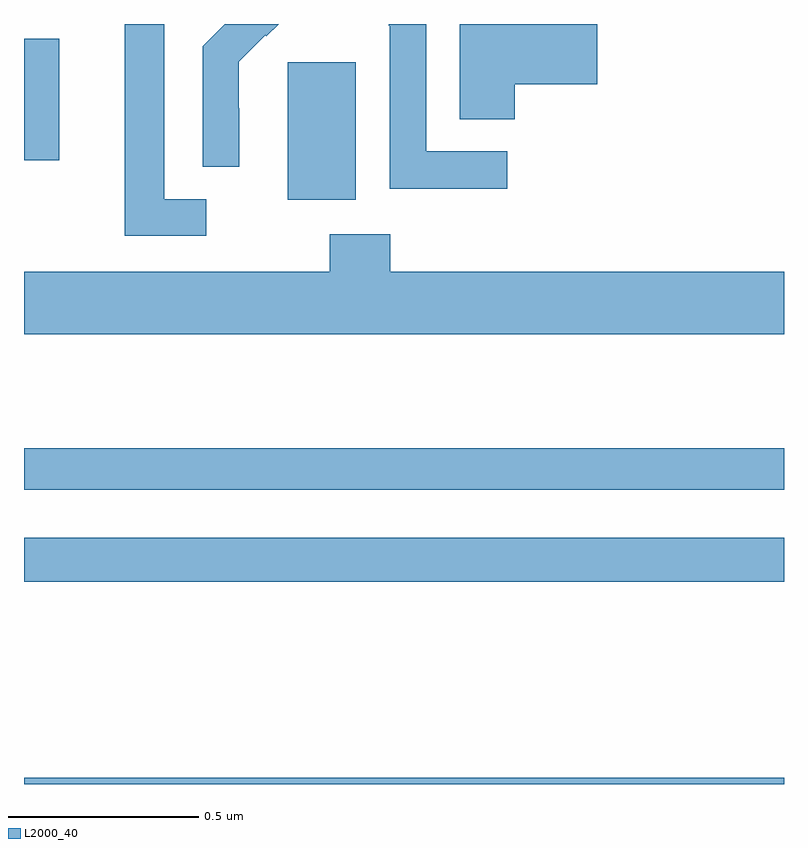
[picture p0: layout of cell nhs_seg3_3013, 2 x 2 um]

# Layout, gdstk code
import gdstk
lib = gdstk.Library(unit=1e-6, precision=1e-09)
def R(c, l, rs):  # rectangles x0, y0, x1, y1
    for r in rs: c.add(gdstk.rectangle(r[:2], r[2:], *l))
def P(c, l, *ps):  # polygons
    for p in ps: c.add(gdstk.Polygon(p, *l))
L2000_40 = (2000, 40)

nhs_seg3_3013 = lib.new_cell('nhs_seg3_3013')
R(nhs_seg3_3013, L2000_40, [(148,698.4,150,698.416), (148,698.932,150,699.048), (148,699.174,150,699.283), (148.694,699.938,148.873,700.299), (148,700.041,148.093,700.361)])
P(nhs_seg3_3013, L2000_40, [(148.48,699.939),(148.369,699.939),(148.369,700.4),(148.265,700.4),(148.265,699.843),(148.48,699.843)],
  [(148.566,700.178),(148.565,700.178),(148.565,700.301),(148.635,700.371),(148.638,700.368),(148.67,700.4),(148.528,700.4),(148.47,700.342),(148.47,700.024),(148.566,700.024)],
  [(149.272,700.065),(149.058,700.065),(149.058,700.4),(148.96,700.4),(148.96,700.396),(148.962,700.396),(148.962,699.967),(149.272,699.967)],
  [(149.291,700.241),(149.509,700.241),(149.509,700.4),(149.147,700.4),(149.147,700.15),(149.291,700.15)],
  [(150,699.748),(148.964,699.748),(148.964,699.847),(148.804,699.847),(148.804,699.748),(148,699.748),(148,699.584),(150,699.584)])

lib.write_gds('nhs_seg3_3013.gds')
